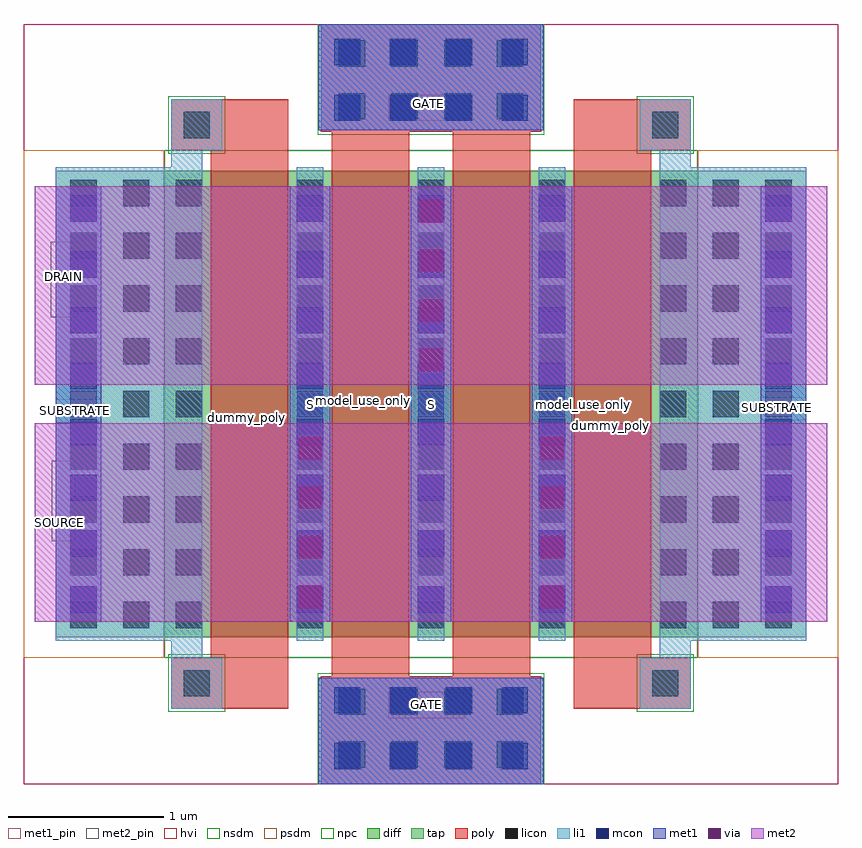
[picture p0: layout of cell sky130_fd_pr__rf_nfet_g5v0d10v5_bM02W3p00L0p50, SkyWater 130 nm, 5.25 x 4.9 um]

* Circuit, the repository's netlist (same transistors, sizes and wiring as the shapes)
* Copyright 2020 The SkyWater PDK Authors
*
* Licensed under the Apache License, Version 2.0 (the "License");
* you may not use this file except in compliance with the License.
* You may obtain a copy of the License at
*
*     https://www.apache.org/licenses/LICENSE-2.0
*
* Unless required by applicable law or agreed to in writing, software
* distributed under the License is distributed on an "AS IS" BASIS,
* WITHOUT WARRANTIES OR CONDITIONS OF ANY KIND, either express or implied.
* See the License for the specific language governing permissions and
* limitations under the License.
*
* SPDX-License-Identifier: Apache-2.0


.subckt sky130_fd_pr__rf_nfet_g5v0d10v5_bM02W3p00L0p50 DRAIN GATE SOURCE SUBSTRATE
X0 SUBSTRATE SUBSTRATE SOURCE SUBSTRATE sky130_fd_pr__nfet_g5v0d10v5 w=3.01e+06u l=500000u
X1 DRAIN GATE SOURCE SUBSTRATE sky130_fd_pr__nfet_g5v0d10v5 w=3.01e+06u l=500000u
X2 SOURCE SUBSTRATE SUBSTRATE SUBSTRATE sky130_fd_pr__nfet_g5v0d10v5 w=3.01e+06u l=500000u
X3 SOURCE GATE DRAIN SUBSTRATE sky130_fd_pr__nfet_g5v0d10v5 w=3.01e+06u l=500000u
.ends

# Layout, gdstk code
import gdstk
lib = gdstk.Library(unit=1e-6, precision=1e-09)
def R(c, l, rs):  # rectangles x0, y0, x1, y1
    for r in rs: c.add(gdstk.rectangle(r[:2], r[2:], *l))
def A(c, l, x, y, w, h, nx, ny, dx, dy):  # array of equal rectangles
    R(c, l, [(x+i*dx, y+j*dy, x+i*dx+w, y+j*dy+h) for i in range(nx) for j in range(ny)])
diff = (65, 20)
tap = (65, 44)
poly = (66, 20)
licon = (66, 44)
li1 = (67, 20)
mcon = (67, 44)
met1_pin = (68, 16)
met1 = (68, 20)
via = (68, 44)
met2_pin = (69, 16)
met2 = (69, 20)
hvi = (75, 20)
nsdm = (93, 44)
psdm = (94, 20)
npc = (95, 20)

sky130_fd_pr__rf_nfet_g5 = lib.new_cell('sky130_fd_pr__rf_nfet_g5v0d10v5_bM02W3p00L0p50')
R(sky130_fd_pr__rf_nfet_g5, diff, [(0.905,0.945,4.345,3.955)])
R(sky130_fd_pr__rf_nfet_g5, tap, [(0.205,0.945,0.905,3.955), (4.345,0.945,5.045,3.955)])
R(sky130_fd_pr__rf_nfet_g5, poly, [(1.915,0,3.335,0.695), (0.95,0.485,1.28,0.815), (1.205,0.485,1.705,4.415), (3.545,0.485,4.045,4.415), (3.97,0.485,4.3,0.815), (1.985,0.695,2.485,4.205), (2.765,0.695,3.265,4.205), (0.95,4.085,1.28,4.415), (3.97,4.085,4.3,4.415), (1.915,4.205,3.335,4.9)])
A(sky130_fd_pr__rf_nfet_g5, licon, 2.03, 0.105, 0.17, 0.17, 4, 2, 0.34, 0.34)
A(sky130_fd_pr__rf_nfet_g5, licon, 0.3, 1.005, 0.17, 0.17, 3, 9, 0.34, 0.34)
A(sky130_fd_pr__rf_nfet_g5, licon, 1.76, 1.005, 0.17, 0.17, 4, 9, 0.78, 0.34)
A(sky130_fd_pr__rf_nfet_g5, licon, 4.44, 1.005, 0.17, 0.17, 1, 9, 0, 0.34)
A(sky130_fd_pr__rf_nfet_g5, licon, 4.78, 1.005, 0.17, 0.17, 1, 9, 0, 0.34)
A(sky130_fd_pr__rf_nfet_g5, licon, 2.03, 4.285, 0.17, 0.17, 4, 2, 0.34, 0.34)
R(sky130_fd_pr__rf_nfet_g5, licon, [(1.03,0.565,1.2,0.735), (4.05,0.565,4.22,0.735), (1.03,4.165,1.2,4.335), (4.05,4.165,4.22,4.335)])
A(sky130_fd_pr__rf_nfet_g5, li1, 1.76, 0.925, 0.17, 3.05, 3, 1, 0.78, 0)
A(sky130_fd_pr__rf_nfet_g5, li1, 1.76, 1.105, 0.17, 2.69, 3, 1, 0.78, 0)
R(sky130_fd_pr__rf_nfet_g5, li1, [(1.915,0,3.335,0.685), (0.95,0.485,1.28,0.815), (3.97,0.485,4.3,0.815), (0.95,0.815,1.15,0.925), (4.1,0.815,4.3,0.925), (0.205,0.925,1.15,3.975), (4.1,0.925,5.045,3.975), (0.95,3.975,1.15,4.085), (4.1,3.975,4.3,4.085), (0.95,4.085,1.28,4.415), (3.97,4.085,4.3,4.415), (1.915,4.215,3.335,4.9)])
A(sky130_fd_pr__rf_nfet_g5, mcon, 2, 0.095, 0.17, 0.17, 4, 2, 0.36, 0.36)
A(sky130_fd_pr__rf_nfet_g5, mcon, 0.3, 1.105, 0.17, 0.17, 1, 8, 0, 0.36)
A(sky130_fd_pr__rf_nfet_g5, mcon, 1.76, 1.105, 0.17, 0.17, 3, 8, 0.78, 0.36)
A(sky130_fd_pr__rf_nfet_g5, mcon, 4.78, 1.105, 0.17, 0.17, 1, 8, 0, 0.36)
A(sky130_fd_pr__rf_nfet_g5, mcon, 2, 4.275, 0.17, 0.17, 4, 2, 0.36, 0.36)
R(sky130_fd_pr__rf_nfet_g5, met1_pin, [(2.35,0.425,2.84,0.595), (0.205,2.33,0.5,2.48), (4.75,2.345,5.045,2.495), (2.35,4.275,2.84,4.445)])
A(sky130_fd_pr__rf_nfet_g5, met1, 1.715, 1.045, 0.26, 2.81, 3, 1, 0.78, 0)
R(sky130_fd_pr__rf_nfet_g5, met1, [(1.9,0,3.35,0.685), (0.205,1.045,0.5,3.855), (1.715,1.045,1.975,2.325), (3.275,1.045,3.535,2.325), (4.75,1.045,5.045,3.855), (2.495,2.575,2.755,3.855), (1.9,4.215,3.35,4.9)])
A(sky130_fd_pr__rf_nfet_g5, via, 1.77, 1.13, 0.15, 0.15, 1, 4, 0, 0.32)
A(sky130_fd_pr__rf_nfet_g5, via, 3.33, 1.13, 0.15, 0.15, 1, 4, 0, 0.32)
A(sky130_fd_pr__rf_nfet_g5, via, 2.55, 2.66, 0.15, 0.15, 1, 4, 0, 0.32)
R(sky130_fd_pr__rf_nfet_g5, met2_pin, [(0.18,1.565,0.33,2.085), (0.175,3.01,0.35,3.495)])
R(sky130_fd_pr__rf_nfet_g5, met2, [(0.07,1.045,5.18,2.325), (1.715,1.045,1.975,2.325), (3.275,1.045,3.535,2.325), (0.07,2.575,5.18,3.855), (2.495,2.575,2.755,3.855)])
R(sky130_fd_pr__rf_nfet_g5, hvi, [(0,0,5.25,4.9)])
R(sky130_fd_pr__rf_nfet_g5, nsdm, [(0.905,0.815,4.345,4.085)])
R(sky130_fd_pr__rf_nfet_g5, psdm, [(0,0.815,0.905,4.085), (4.345,0.815,5.25,4.085)])
R(sky130_fd_pr__rf_nfet_g5, npc, [(1.895,0,3.355,0.715), (0.93,0.465,1.3,0.835), (3.95,0.465,4.32,0.835), (0.93,4.065,1.3,4.435), (3.95,4.065,4.32,4.435), (1.895,4.185,3.355,4.9)])
sky130_fd_pr__rf_nfet_g5.add(gdstk.Label('SOURCE', (0.23,1.685), layer=69, texttype=5))
sky130_fd_pr__rf_nfet_g5.add(gdstk.Label('DRAIN', (0.255,3.275), layer=69, texttype=5))
sky130_fd_pr__rf_nfet_g5.add(gdstk.Label('model_use_only', (3.605,2.45), layer=66, texttype=83))
sky130_fd_pr__rf_nfet_g5.add(gdstk.Label('model_use_only', (3.015,2.49), layer=66, texttype=83))
sky130_fd_pr__rf_nfet_g5.add(gdstk.Label('model_use_only', (2.19,2.47), layer=66, texttype=83))
sky130_fd_pr__rf_nfet_g5.add(gdstk.Label('model_use_only', (1.615,2.45), layer=66, texttype=83))
sky130_fd_pr__rf_nfet_g5.add(gdstk.Label('GATE', (2.595,0.51), layer=68, texttype=5))
sky130_fd_pr__rf_nfet_g5.add(gdstk.Label('GATE', (2.61,4.39), layer=68, texttype=5))
sky130_fd_pr__rf_nfet_g5.add(gdstk.Label('SUBSTRATE', (0.335,2.41), layer=68, texttype=16))
sky130_fd_pr__rf_nfet_g5.add(gdstk.Label('SUBSTRATE', (4.86,2.425), layer=68, texttype=16))
sky130_fd_pr__rf_nfet_g5.add(gdstk.Label('S', (1.845,2.45), layer=83, texttype=44))
sky130_fd_pr__rf_nfet_g5.add(gdstk.Label('S', (2.625,2.45), layer=83, texttype=44))
sky130_fd_pr__rf_nfet_g5.add(gdstk.Label('S', (3.405,2.45), layer=83, texttype=44))
sky130_fd_pr__rf_nfet_g5.add(gdstk.Label('S', (1.845,2.45), layer=83, texttype=44))
sky130_fd_pr__rf_nfet_g5.add(gdstk.Label('D', (2.625,2.45), layer=83, texttype=44))
sky130_fd_pr__rf_nfet_g5.add(gdstk.Label('S', (3.405,2.45), layer=83, texttype=44))
sky130_fd_pr__rf_nfet_g5.add(gdstk.Label('dummy_poly', (3.785,2.31), layer=83, texttype=44))
sky130_fd_pr__rf_nfet_g5.add(gdstk.Label('dummy_poly', (1.435,2.365), layer=83, texttype=44))

lib.write_gds('sky130_fd_pr__rf_nfet_g5v0d10v5_bM02W3p00L0p50.gds')
